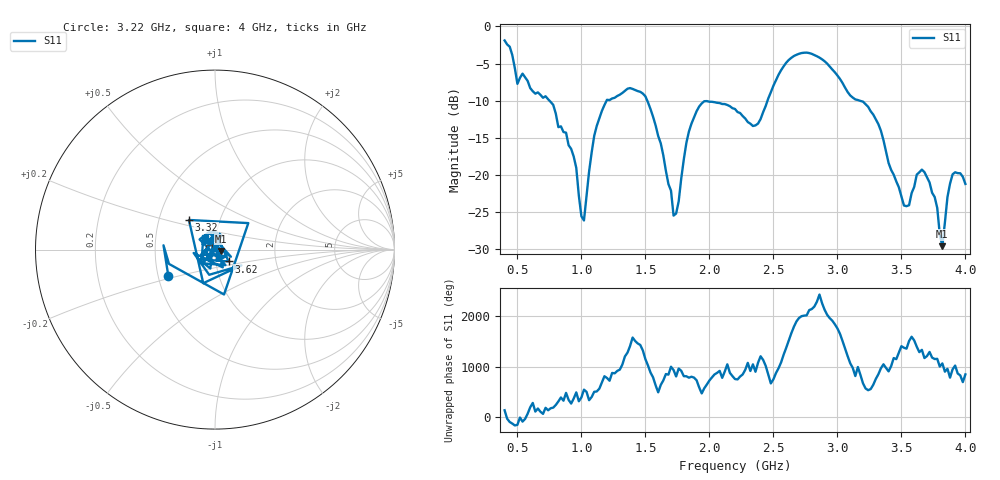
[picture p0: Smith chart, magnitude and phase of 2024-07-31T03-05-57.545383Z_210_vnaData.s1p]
!Created with skrf (http://scikit-rf.org).
# Hz S RI R 50.0
!freq ReS11 ImS11
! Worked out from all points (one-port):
!   181 points, 400 MHz to 4 GHz, reference 50 ohm
!   lowest |S11| = -29.6 dB at 3.82 GHz (marker M1), VSWR 1.07, Z = 53.3 - j0.785 ohm
!   |S11| at or under -10 dB: 750.7 MHz to 1.197 GHz (445.9 MHz wide, 45.8 % of centre); 1.515 GHz to 2.454 GHz (939.2 MHz wide, 47.3 % of centre); 3.175 GHz to end of sweep
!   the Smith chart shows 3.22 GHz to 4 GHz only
!   S11 on the Smith chart (normalised r, x): 3.22 GHz: 0.57, -0.19; 3.32 GHz: 0.71, +0.25; 3.62 GHz: 1.15, -0.15; 4 GHz: 0.89, +0.12
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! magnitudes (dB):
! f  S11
! 400 MHz  -1.9
! 500 MHz  -7.7
! 720 MHz  -9.4
! 860 MHz  -14.2
! 940 MHz  -17.5
! 1.02 GHz  -26.1
! 1.12 GHz  -13.4
! 1.3 GHz  -9.2
! 1.5 GHz  -9.4
! 1.62 GHz  -15.7
! 1.72 GHz  -25.5
! 1.76 GHz  -23.6
! 1.82 GHz  -15.7
! 1.92 GHz  -10.8
! 2.2 GHz  -11.1
! 2.38 GHz  -13.1
! 2.66 GHz  -4.0
! 2.88 GHz  -4.4
! 3.1 GHz  -9.3
! 3.22 GHz  -10.5
! 3.32 GHz  -13.2
! 3.52 GHz  -24.1
! 3.56 GHz  -24.1
! 3.62 GHz  -20.0
! 3.72 GHz  -21.0
! 3.82 GHz  -29.6
! 3.9 GHz  -19.9
! 4 GHz  -21.2
